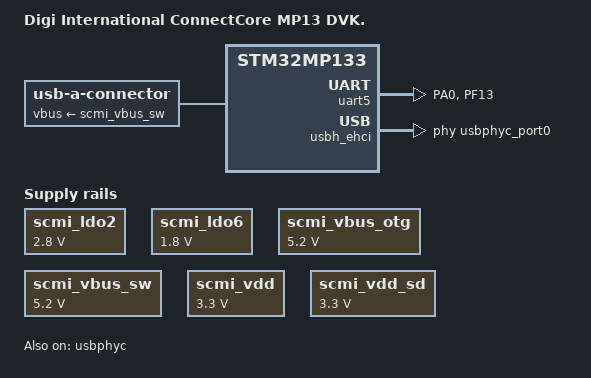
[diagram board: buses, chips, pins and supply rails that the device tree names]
/*
 * Copyright 2022 Digi International, Inc.
 *
 * The code contained herein is licensed under the GNU General Public
 * License. You may obtain a copy of the GNU General Public License
 * Version 2 or later at the following locations:
 *
 * http://www.opensource.org/licenses/gpl-license.html
 * http://www.gnu.org/copyleft/gpl.html
 */

/dts-v1/;

//#include <dt-bindings/gpio/gpio.h>
#include <dt-bindings/input/input.h>
#include <dt-bindings/leds/common.h>
#include <dt-bindings/rtc/rtc-stm32.h>
#include "ccmp13.dtsi"
#include "stm32mp13xc.dtsi"
#include "stm32mp13-pinctrl.dtsi"

/ {
	model = "Digi International ConnectCore MP13 DVK.";
	compatible = "digi,ccmp13-dvk", "digi,ccmp13", "st,stm32mp133";
	digi,machine,name = "ccmp133-dvk";

	aliases {
		ethernet0 = &eth1;
		ethernet1 = &eth2;
		mmc1 = &sdmmc1; /* Micro SD */
		serial0 = &uart5;
		serial1 = &usart1;
		serial2 = &uart8;
		serial3 = &usart2;
	};

	chosen {
		#address-cells = <1>;
		#size-cells = <1>;
		ranges;
		stdout-path = "serial0:115200n8";
	};
};

/* 10/100/1000 Ethernet */
&eth1 {
	status = "disabled";
	pinctrl-0 = <&eth1_rmii_pins_a>;
	pinctrl-1 = <&eth1_rmii_sleep_pins_a>;
	pinctrl-names = "default", "sleep";
	phy-mode = "rmii";
	max-speed = <100>;
	phy-handle = <&phy0>;
	st,eth-ref-clk-sel = <1>;
	st,ext-phyclk = <1>;

	mdio1 {
		#address-cells = <1>;
		#size-cells = <0>;
		compatible = "snps,dwmac-mdio";

		phy0: ethernet-phy@0 {
			reg = <0>;
			compatible = "ethernet-phy-id0007.c0f0"; /* PHY ID for SMSC LAN8720Ai */
			smsc,disable-energy-detect;
		};
	};
};

&scmi_ldo2 {
	regulator-min-microvolt = <2800000>;
	regulator-max-microvolt = <2800000>;
	regulator-always-on;
};

&scmi_ldo6 {
	regulator-min-microvolt = <1800000>;
	regulator-max-microvolt = <1800000>;
	regulator-always-on;
};

&scmi_vbus_otg {
	regulator-min-microvolt = <5200000>;
	regulator-max-microvolt = <5200000>;
	regulator-always-on;
};

&scmi_vbus_sw {
	regulator-min-microvolt = <5200000>;
	regulator-max-microvolt = <5200000>;
	regulator-always-on;
};

&scmi_vdd {
	regulator-min-microvolt = <3300000>;
	regulator-max-microvolt = <3300000>;
	regulator-always-on;
};

&scmi_vdd_sd {
	regulator-min-microvolt = <3300000>;
	regulator-max-microvolt = <3300000>;
	regulator-always-on;
};

/* Console on UART5 */
&uart5 {
	pinctrl-names = "default", "sleep", "idle";
	pinctrl-0 = <&ccmp13_uart5_pins_a>;
	pinctrl-1 = <&ccmp13_uart5_sleep_pins_a>;
	pinctrl-2 = <&ccmp13_uart5_idle_pins_a>;
	/delete-property/dmas;
	/delete-property/dma-names;
	status = "okay";
};

&usbh_ehci {
	phys = <&usbphyc_port0>;
	status = "okay";
};

&usbphyc {
	status = "okay";
};

&usbphyc_port0 {
	phy-supply = <&scmi_vdd_usb>;
	st,current-boost-microamp = <1000>;
	st,decrease-hs-slew-rate;
	st,tune-hs-dc-level = <2>;
	st,enable-hs-rftime-reduction;
	st,trim-hs-current = <11>;
	st,trim-hs-impedance = <2>;
	st,tune-squelch-level = <1>;
	st,enable-hs-rx-gain-eq;
	st,no-hs-ftime-ctrl;
	st,no-lsfs-sc;

	/*
	 * Hack to keep hub active if wakeup source is enabled
	 * otherwise the hub will wakeup the port0 as soon as the vbus_sw is disabled
	 */
	connector {
		compatible = "usb-a-connector";
		vbus-supply = <&scmi_vbus_sw>;
	};
};

&pinctrl {

	ccmp13_uart5_pins_a: ccmp13_uart5-0 {
		pins1 {
			pinmux = <STM32_PINMUX('A', 0, AF8)>; /* UART5_TX */
			bias-disable;
			drive-push-pull;
			slew-rate = <0>;
		};
		pins2 {
			pinmux = <STM32_PINMUX('F', 13, AF8)>; /* UART5_RX */
			bias-disable;
		};
	};

	ccmp13_uart5_idle_pins_a: ccmp13_uart5-idle-0 {
		pins1 {
			pinmux = <STM32_PINMUX('A', 0, ANALOG)>; /* UART5_TX */
		};
		pins2 {
			pinmux = <STM32_PINMUX('F', 13, AF8)>; /* UART5_RX */
			bias-disable;
		};
	};

	ccmp13_uart5_sleep_pins_a: ccmp13_uart5-sleep-0 {
		pins {
			pinmux = <STM32_PINMUX('A', 0, ANALOG)>, /* UART5_TX */
				 <STM32_PINMUX('F', 13, ANALOG)>; /* UART5_RX */
		};
	};
};
